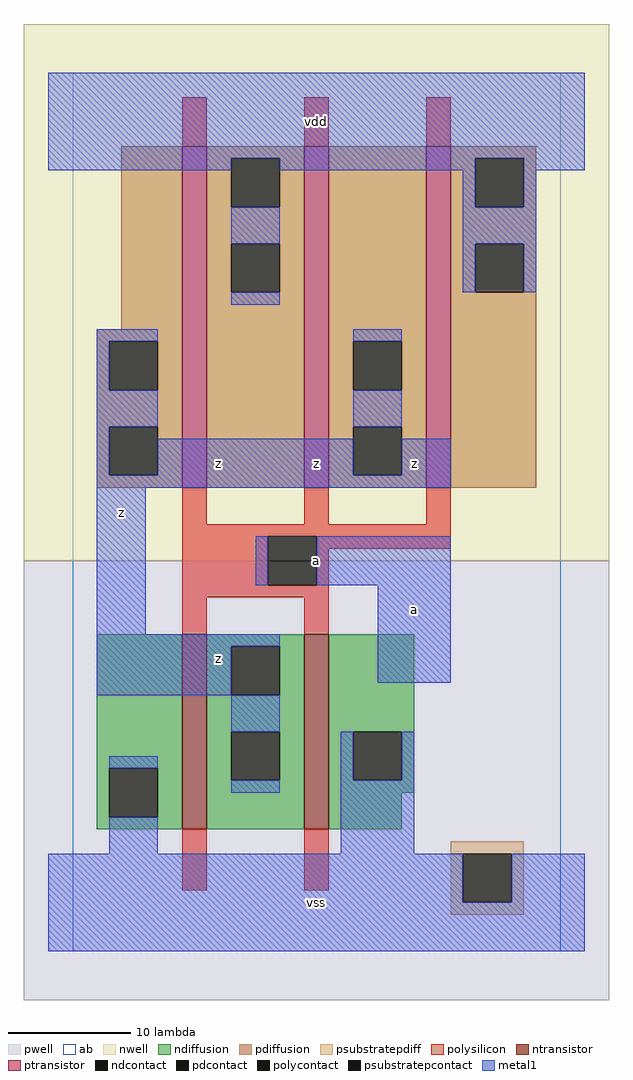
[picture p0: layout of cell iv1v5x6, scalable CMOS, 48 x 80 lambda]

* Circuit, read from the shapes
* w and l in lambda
.subckt iv1v5x6 a vdd vss z
M1 z a vss vss nfet w=16 l=2 m=2
M2 vdd a z n1 pfet w=28 l=2 m=3
.ends

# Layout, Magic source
magic
tech scmos
<< ab >>
rect 0 0 40 72
<< pwell >>
rect -4 -4 44 32
<< nwell >>
rect -4 32 44 76
<< polysilicon >>
rect 9 66 11 70
rect 19 66 21 70
rect 29 66 31 70
rect 9 35 11 38
rect 19 35 21 38
rect 29 35 31 38
rect 9 34 31 35
rect 9 30 16 34
rect 20 33 31 34
rect 20 30 21 33
rect 9 29 21 30
rect 9 26 11 29
rect 19 26 21 29
rect 9 5 11 10
rect 19 5 21 10
<< ndiffusion >>
rect 2 15 9 26
rect 2 11 3 15
rect 7 11 9 15
rect 2 10 9 11
rect 11 25 19 26
rect 11 21 13 25
rect 17 21 19 25
rect 11 18 19 21
rect 11 14 13 18
rect 17 14 19 18
rect 11 10 19 14
rect 21 18 28 26
rect 21 14 23 18
rect 27 14 28 18
rect 21 13 28 14
rect 21 10 27 13
<< pdiffusion >>
rect 4 51 9 66
rect 2 50 9 51
rect 2 46 3 50
rect 7 46 9 50
rect 2 43 9 46
rect 2 39 3 43
rect 7 39 9 43
rect 2 38 9 39
rect 11 65 19 66
rect 11 61 13 65
rect 17 61 19 65
rect 11 58 19 61
rect 11 54 13 58
rect 17 54 19 58
rect 11 38 19 54
rect 21 50 29 66
rect 21 46 23 50
rect 27 46 29 50
rect 21 43 29 46
rect 21 39 23 43
rect 27 39 29 43
rect 21 38 29 39
rect 31 65 38 66
rect 31 61 33 65
rect 37 61 38 65
rect 31 58 38 61
rect 31 54 33 58
rect 37 54 38 58
rect 31 38 38 54
<< metal1 >>
rect -2 65 42 72
rect -2 64 13 65
rect 17 64 33 65
rect 13 58 17 61
rect 32 61 33 64
rect 37 64 42 65
rect 37 61 38 64
rect 32 58 38 61
rect 32 54 33 58
rect 37 54 38 58
rect 13 53 17 54
rect 2 50 7 51
rect 2 46 3 50
rect 2 43 7 46
rect 2 39 3 43
rect 23 50 27 51
rect 23 43 27 46
rect 7 39 23 42
rect 27 39 31 42
rect 2 38 31 39
rect 2 26 6 38
rect 15 30 16 34
rect 20 30 31 34
rect 2 25 17 26
rect 2 21 13 25
rect 25 22 31 30
rect 13 18 17 21
rect 3 15 7 16
rect 13 13 17 14
rect 22 14 23 18
rect 27 14 28 18
rect 3 8 7 11
rect 22 8 28 14
rect -2 4 32 8
rect 36 4 42 8
rect -2 0 42 4
<< ntransistor >>
rect 9 10 11 26
rect 19 10 21 26
<< ptransistor >>
rect 9 38 11 66
rect 19 38 21 66
rect 29 38 31 66
<< polycontact >>
rect 16 30 20 34
<< ndcontact >>
rect 3 11 7 15
rect 13 21 17 25
rect 13 14 17 18
rect 23 14 27 18
<< pdcontact >>
rect 3 46 7 50
rect 3 39 7 43
rect 13 61 17 65
rect 13 54 17 58
rect 23 46 27 50
rect 23 39 27 43
rect 33 61 37 65
rect 33 54 37 58
<< psubstratepcontact >>
rect 32 4 36 8
<< psubstratepdiff >>
rect 31 8 37 9
rect 31 4 32 8
rect 36 4 37 8
rect 31 3 37 4
<< labels >>
rlabel metal1 4 36 4 36 6 z
rlabel metal1 12 24 12 24 6 z
rlabel metal1 12 40 12 40 6 z
rlabel metal1 20 4 20 4 6 vss
rlabel metal1 20 32 20 32 6 a
rlabel metal1 28 28 28 28 6 a
rlabel metal1 28 40 28 40 6 z
rlabel metal1 20 40 20 40 6 z
rlabel metal1 20 68 20 68 6 vdd
<< end >>
